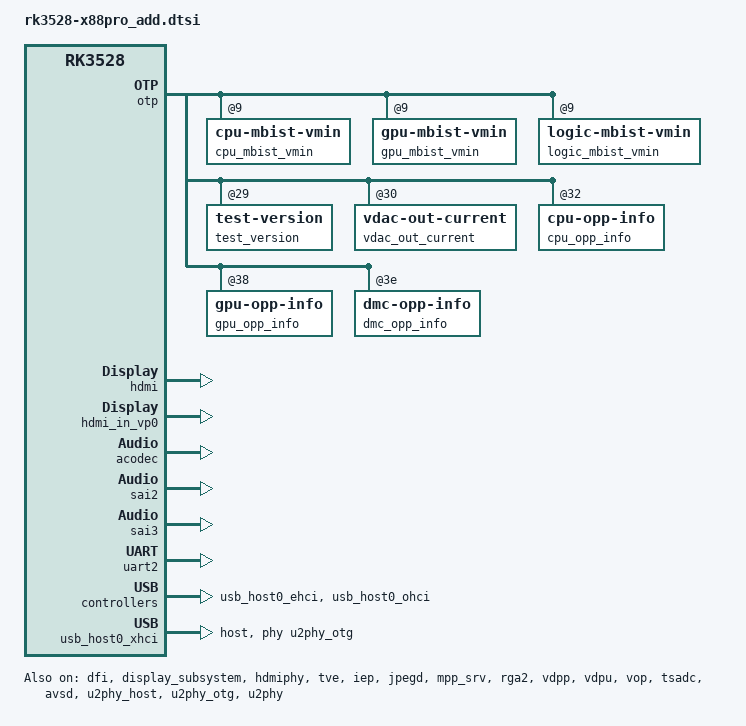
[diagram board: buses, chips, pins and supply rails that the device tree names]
#include <dt-bindings/clock/rk3528-cru.h>
#include <dt-bindings/interrupt-controller/arm-gic.h>
#include <dt-bindings/interrupt-controller/irq.h>
#include <dt-bindings/phy/phy.h>
#include <dt-bindings/pinctrl/rockchip.h>
#include <dt-bindings/power/rk3528-power.h>
#include <dt-bindings/soc/rockchip,boot-mode.h>
#include <dt-bindings/thermal/thermal.h>





	hdmi_sound: hdmi-sound {
		status = "okay";
		compatible = "simple-audio-card";
		simple-audio-card,format = "i2s";
		simple-audio-card,mclk-fs = <128>;
		simple-audio-card,name = "rockchip-hdmi0";
		simple-audio-card,cpu {
			sound-dai = <&sai3>;
		};
		simple-audio-card,codec {
			sound-dai = <&hdmi>;
		};
	};

	acodec_sound: acodec-sound {
		status = "okay";
		compatible = "simple-audio-card";
		simple-audio-card,name = "rk3528-acodec";
		simple-audio-card,format = "i2s";
		simple-audio-card,mclk-fs = <256>;
		simple-audio-card,cpu {
			sound-dai = <&sai2>;
		};
		simple-audio-card,codec {
			sound-dai = <&acodec>;
		};
	};

	crypto: crypto@ffc40000 {
		compatible = "rockchip,crypto-v4";
		reg = <0x0 0xffc40000 0x0 0x2000>;
		interrupts = <GIC_SPI 19 IRQ_TYPE_LEVEL_HIGH>;
		clocks = <&scmi_clk SCMI_ACLK_CRYPTO>, <&scmi_clk SCMI_HCLK_CRYPTO>,
			 <&scmi_clk SCMI_CORE_CRYPTO>, <&scmi_clk SCMI_PKA_CRYPTO>;
		clock-names = "aclk", "hclk", "sclk", "pka";
		assigned-clocks = <&scmi_clk SCMI_CORE_CRYPTO>, <&scmi_clk SCMI_PKA_CRYPTO>;
		assigned-clock-rates = <300000000>, <300000000>;
		resets = <&cru SRST_RESETN_CORE_CRYPTO>;
		reset-names = "crypto-rst";
		status = "disabled";
	};



&gpu_bus {
	bus-supply = <&vdd_logic>;
	status = "disabled";
};

&otp {
	/* Data cells */
	cpu_mbist_vmin: cpu-mbist-vmin@9 {
		reg = <0x09 0x1>;
		bits = <0 3>;
	};
	gpu_mbist_vmin: gpu-mbist-vmin@9 {
		reg = <0x09 0x1>;
		bits = <3 2>;
	};
	logic_mbist_vmin: logic-mbist-vmin@9 {
		reg = <0x09 0x1>;
		bits = <5 2>;
	};
	test_version: test-version@29 {
		reg = <0x29 0x1>;
	};
	macphy_bgs: macphy-bgs@2d {
		reg = <0x2d 0x1>;
	};
	macphy_txlevel: macphy-txlevel@2e {
		reg = <0x2e 0x2>;
	};
	vdac_out_current: vdac-out-current@30 {
		reg = <0x30 0x1>;
	};
	cpu_opp_info: cpu-opp-info@32 {
		reg = <0x32 0x6>;
	};
	gpu_opp_info: gpu-opp-info@38 {
		reg = <0x38 0x6>;
	};
	dmc_opp_info: dmc-opp-info@3e {
		reg = <0x3e 0x6>;
	};
};

/*
&crypto {
	status = "okay";
};
*/

&dfi {
	status = "okay";
};

/*
&dmc {
	center-supply = <&vdd_logic>;
	status = "disabled";
};
*/
&display_subsystem {
	status = "okay";
};

&hdmi {
	status = "okay";
};

&hdmi_in_vp0 {
	status = "okay";
};

&hdmiphy {
	status = "okay";
};


&tve {
	status = "okay";
	ports {
		#address-cells = <1>;
		#size-cells = <0>;

		port@0 {
			reg = <0>;
			#address-cells = <1>;
			#size-cells = <0>;

			tve_in_vp1: endpoint@0 {
				reg = <0>;
				remote-endpoint = <&vp1_out_tve>;
				status = "disabled";
			};
		};
	};
};


&iep {
	status = "okay";
};

&iep_mmu {
	status = "okay";
};

&jpegd {
	status = "okay";
};

&jpegd_mmu {
	status = "okay";
};

&mpp_srv {
	status = "okay";
};

&rga2 {
	status = "okay";
};

&rga2_mmu {
	status = "okay";
};

&rkvdec {
	status = "disabled";
};

&rkvdec_mmu {
	status = "okay";
};

&rkvenc {
	status = "disabled";
};

&rkvenc_mmu {
	status = "okay";
};

&rkvtunnel {
	status = "disabled";
};

&rockchip_suspend {
	status = "okay";
	rockchip,sleep-debug-en = <1>;
	rockchip,virtual-poweroff = <1>;
};

&vdpp {
	status = "okay";
};

&vdpu {
	status = "okay";
};

&vdpu_mmu {
	status = "okay";
};

&vop {
	status = "okay";
	vop_out: ports {
		#address-cells = <1>;
		#size-cells = <0>;

		port@0 {
			#address-cells = <1>;
			#size-cells = <0>;
			reg = <0>;

			vp0_out_hdmi: endpoint@0 {
				reg = <0>;
				remote-endpoint = <&hdmi_in_vp0>;
			};
		};

		port@1 {
			#address-cells = <1>;
			#size-cells = <0>;
			reg = <1>;

			vp1_out_tve: endpoint@0 {
				reg = <0>;
				remote-endpoint = <&tve_in_vp1>;
			};
		};
	};	
};

&vop_mmu {
	status = "okay";
};

&tsadc {
	status = "okay";
};

&acodec {
	pa-ctl-gpios = <&gpio0 RK_PA0 GPIO_ACTIVE_HIGH>;
	status = "okay";
};

&avsd {
	status = "okay";
};

&sai2 {
	status = "okay";
};

&sai3 {
	status = "okay";
};

&uart2 {
	pinctrl-names = "default";
	pinctrl-0 = <&uart2m1_xfer &uart2m1_ctsn>, <&uart2m1_rtsn>;
	uart-has-rtscts;
	status = "okay";

	wireless_bluetooth: wireless-bluetooth {
		compatible = "bluetooth-platdata";
		uart_rts_gpios = <&gpio1 RK_PB2 GPIO_ACTIVE_LOW>;
		pinctrl-names = "default", "rts_gpio";
		pinctrl-0 = <&uart2m1_rtsn>;
		pinctrl-1 = <&uart2m1_gpios>;
		BT,reset_gpio    = <&gpio1 RK_PC1 GPIO_ACTIVE_HIGH>; 		//49
		BT,wake_gpio     = <&gpio1 RK_PC0 GPIO_ACTIVE_HIGH>;
		BT,wake_host_irq = <&gpio1 RK_PC2 GPIO_ACTIVE_HIGH>;			//50
		status = "disabled";
		/* status = "okay";   V1.4  */
	};
};

&pcie {
	pinctrl-names = "default";
	pinctrl-0 = <&pciem1_pins>;
	reset-gpios = <&gpio1 RK_PA2 GPIO_ACTIVE_HIGH>;
	vpcie3v3-supply = <&vcc3v3_pcie20>;
	status = "disabled";
};

&u2phy_host {
	phy-supply = <&vcc5v0_host>;
	status = "okay";
};

&u2phy_otg {
	phy-supply = <&vcc5v0_otg>;
	status = "okay";
};

&u2phy {
	status = "okay";
};

&usb_host0_ehci {
	status = "okay";
};

&usb_host0_ohci {
	status = "okay";
};

/*
&usbdrd30 {
	status = "okay";
};

&usbdrd_dwc3  {
	dr_mode = "host";
	extcon = <&u2phy>;
	phys = <&u2phy_otg>;
	phy-names = "usb2-phy";
	interrupts = <GIC_SPI 152 IRQ_TYPE_LEVEL_HIGH>;
	resets = <&cru SRST_A_USB3OTG>;
	reset-names = "usb3-otg";
	maximum-speed = "high-speed";
	snps,dis_u2_susphy_quirk;
	snps,usb2-lpm-disable;
	status = "okay";
};
*/

&usb_host0_xhci {
	dr_mode = "host";
	extcon = <&u2phy>;
	maximum-speed = "high-speed";
	phys = <&u2phy_otg>;
	phy-names = "usb2-phy";
	status = "okay";
};
